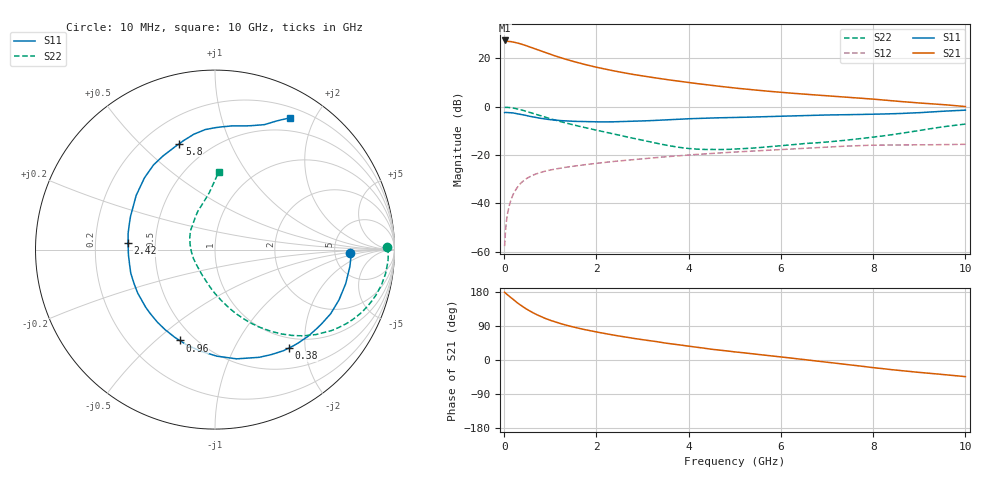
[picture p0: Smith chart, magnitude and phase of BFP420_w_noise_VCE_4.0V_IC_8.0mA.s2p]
! Infineon Technologies  Discrete & RF Semiconductors
! BFP420
! VCE =  4.0 V,  IC =  8.0 mA
! Common Emitter S-Parameters:  Jan 2016
# GHz  S  MA  R  50
!  f  S11  S21  S12  S22
! GHz  MAG  ANG  MAG  ANG  MAG  ANG  MAG  ANG
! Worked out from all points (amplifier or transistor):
!   233 points, 10 MHz to 10 GHz, reference 50 ohm
!   highest |S21| = 27.4 dB at 10 MHz (marker M1)
!   |S21| within 3 dB of that: start of sweep to 602.6 MHz
!   unconditionally stable (mu >= 1): start of sweep to 14.09 MHz; 2.584 GHz to end of sweep
!   at 200 MHz: K = 0.19, MSG = 31.4 dB, |S12| = -36.1 dB
!   at 1.74 GHz: K = 0.76, MSG = 20.8 dB, |S12| = -24.1 dB
!   at 10 GHz: K = 1.10, MAG = 5.9 dB, |S12| = -15.6 dB
!   lowest NFmin = 0.79 dB at 900 MHz
!   S11 on the Smith chart (normalised r, x): 10 MHz: 7.05, -0.56; 380 MHz: 0.82, -1.69; 960 MHz: 0.42, -0.60; 2.42 GHz: 0.35, +0.03; 5.8 GHz: 0.34, +0.66; 10 GHz: 0.33, +1.67
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0.01  0.753 -1.3  23.31 178.8  0.0013 29.5  0.9611 0.7
0.02  0.7585 -2.7  22.61 177.5  0.0019 52.5  0.9658 -1.4
0.1  0.7526 -14.6  22.4 169.2  0.0081 74.7  0.9599 -8.0
0.2  0.737 -29.0  21.63 159.2  0.0156 71.8  0.9319 -15.8
0.3  0.7089 -42.9  20.53 149.6  0.0223 67.3  0.8902 -23.0
0.38  0.6854 -53.2  19.49 142.8  0.0271 63.4  0.8502 -28.1
0.5  0.6486 -67.7  17.87 133.2  0.0332 58.4  0.7873 -35.1
0.6  0.6205 -78.8  16.54 126.2  0.0373 54.6  0.7351 -40.1
0.8  0.5714 -98.1  14.07 114.4  0.0438 49.2  0.6402 -48.3
0.96  0.5431 -111.3  12.44 106.7  0.0479 46.1  0.5758 -53.6
1.1  0.526 -121.7  11.21 100.7  0.051 44.1  0.5271 -57.6
1.28  0.5095 -133.3  9.884 94.1  0.0546 42.1  0.4733 -62.3
1.68  0.4905 -154.7  7.731 82.0  0.0616 38.9  0.3812 -71.2
1.96  0.4852 -166.7  6.653 74.9  0.0664 37.4  0.332 -76.7
2.42  0.4859 175.9  5.383 64.7  0.0741 34.9  0.2655 -86.1
3.4  0.5254 148.0  3.766 46.6  0.09 29.6  0.1672 -112.2
4  0.5607 134.5  3.144 36.3  0.0999 26.0  0.1361 -136.2
5.1  0.5988 117.8  2.368 20.2  0.1163 18.6  0.1332 -178.6
5.8  0.6229 108.6  2.049 10.8  0.1261 14.0  0.1487 159.9
6.8  0.6631 96.9  1.727 -2.9  0.142 6.7  0.179 136.6
8.4  0.7096 76.2  1.32 -25.5  0.1604 -9.0  0.2615 105.8
10  0.8436 60.4  1.002 -43.9  0.166 -20.0  0.4354 87.1
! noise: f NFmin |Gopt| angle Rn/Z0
0.9  0.79  0.08  30  0.13
1.8  1.14  0.06  171  0.12
2.4  1.24  0.1  160  0.13
3  1.32  0.17  -165  0.12
4  1.46  0.32  -132  0.14
5  1.85  0.39  -110  0.25
6  2.3  0.46  -95  0.37
